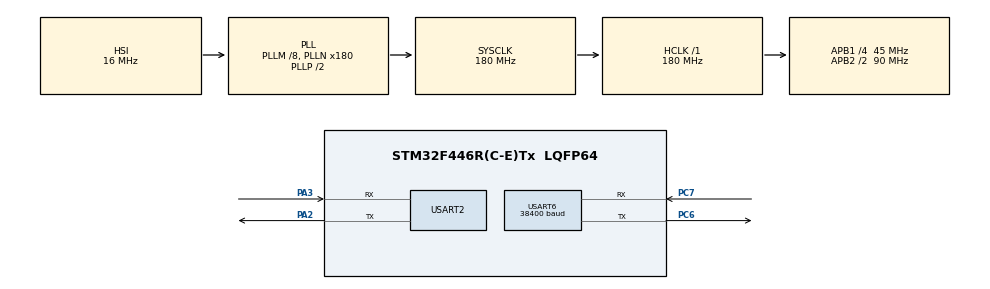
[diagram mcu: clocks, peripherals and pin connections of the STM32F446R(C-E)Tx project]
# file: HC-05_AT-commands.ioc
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Mcu.Family=STM32F4
Mcu.Name=STM32F446R(C-E)Tx
Mcu.Package=LQFP64
NVIC.PriorityGroup=NVIC_PRIORITYGROUP_4
PA2.Mode=Asynchronous
PA2.Signal=USART2_TX
PA3.Mode=Asynchronous
PA3.Signal=USART2_RX
PC6.Mode=Asynchronous
PC6.Signal=USART6_TX
PC7.Mode=Asynchronous
PC7.Signal=USART6_RX
PH0-OSC_IN.Mode=HSE-External-Oscillator
PH0-OSC_IN.Signal=RCC_OSC_IN
PH1-OSC_OUT.Mode=HSE-External-Oscillator
PH1-OSC_OUT.Signal=RCC_OSC_OUT
ProjectManager.HeapSize=0x200
ProjectManager.StackSize=0x400
ProjectManager.TargetToolchain=STM32CubeIDE
RCC.AHBFreq_Value=180000000
RCC.APB1CLKDivider=RCC_HCLK_DIV4
RCC.APB1Freq_Value=45000000
RCC.APB1TimFreq_Value=90000000
RCC.APB2CLKDivider=RCC_HCLK_DIV2
RCC.APB2Freq_Value=90000000
RCC.APB2TimFreq_Value=180000000
RCC.CortexFreq_Value=180000000
RCC.HCLKFreq_Value=180000000
RCC.PLLM=8
RCC.PLLN=180
RCC.SYSCLKFreq_VALUE=180000000
RCC.SYSCLKSource=RCC_SYSCLKSOURCE_PLLCLK
RCC.USBFreq_Value=180000000
RCC.VCOOutputFreq_Value=360000000
USART2.VirtualMode=VM_ASYNC
USART6.BaudRate=38400
USART6.VirtualMode=VM_ASYNC
board=custom

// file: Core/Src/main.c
/* USER CODE BEGIN Header */
/**
  ******************************************************************************
  * @file           : main.c
  * @brief          : Main program body
  ******************************************************************************
  * @attention
  *
  * Copyright (c) 2022 STMicroelectronics.
  * All rights reserved.
  *
  * This software is licensed under terms that can be found in the LICENSE file
  * in the root directory of this software component.
  * If no LICENSE file comes with this software, it is provided AS-IS.
  *
  ******************************************************************************
  */
/* USER CODE END Header */
#include "main.h"

/* USER CODE BEGIN Includes */
#include <string.h>
#include <memory.h>
#include <stdio.h>
/* USER CODE END Includes */

 UART_HandleTypeDef huart2;
UART_HandleTypeDef huart6;

/* USER CODE BEGIN PV */

#ifdef __GNUC__
#define PUTCHAR_PROTOTYPE int __io_putchar(int ch)
#else
#define PUTCHAR_PROTOTYPE int fputc(int ch, FILE *f)
#endif /* __GNUC__ */
PUTCHAR_PROTOTYPE
{
	while (HAL_UART_Transmit(&huart2, (uint8_t *)&ch, 1, 10) != HAL_OK) {};
	return ch;
}

#ifdef __GNUC__
#define GETCHAR_PROTOTYPE int __io_getchar (void)
#else
#define GETCHAR_PROTOTYPE int fgetc(FILE * f)
#endif /* __GNUC__ */
GETCHAR_PROTOTYPE
{
	uint8_t ch = 0;
	// Clear the Overrun flag just before receiving the first character
	__HAL_UART_CLEAR_OREFLAG(&huart2);
	HAL_UART_Receive(&huart2, (uint8_t *)&ch, 1, 0xFFFF);
	while (HAL_UART_Transmit(&huart2, (uint8_t *)&ch, 1, 10) != HAL_OK) {};
	return ch;
}
/* USER CODE END PV */

void SystemClock_Config(void);
static void MX_GPIO_Init(void);
static void MX_USART6_UART_Init(void);
static void MX_USART2_UART_Init(void);

int main(void)
{

  /* MCU Configuration--------------------------------------------------------*/

  /* Reset of all peripherals, Initializes the Flash interface and the Systick. */
  HAL_Init();

  /* Configure the system clock */
  SystemClock_Config();

  /* Initialize all configured peripherals */
  MX_GPIO_Init();
  MX_USART6_UART_Init();
  MX_USART2_UART_Init();
  /* USER CODE BEGIN 2 */

  // Use AT commands in "Command" mode to set the baud rate of BT module

  // By default the baud rate of HC05 BT module is 38400 in COMMAND MODE.
  // AND 9600 in data mode. NB! Read HC-05 manual "How to get to the AT mode"

	char receiveBuffer[50] = {0};

	HAL_Delay(200);

	// Test command. Respone should be OK\r\n
	char command[] = "AT\r\n";
	HAL_UART_Transmit(&huart6, (uint8_t*)&command, strlen(command), 500u);

	HAL_UART_Receive(&huart6, receiveBuffer, 50, 2000);
	printf ("Received: %s\r\n", receiveBuffer);

	HAL_Delay(200);

	// Baud rate to 921600 with 1 stop bit and no parity
   char command2[] = "AT+UART=921600,0,0\r\n";
   HAL_UART_Transmit(&huart6, (uint8_t*)&command2, strlen(command2), 500u);

   HAL_UART_Receive(&huart6, receiveBuffer, 50, 2000);
   printf ("Received: %s\r\n", receiveBuffer);

   HAL_Delay(200);

   // Test command. Check the baud rate. Response should be what was set with AT+UART= command
   char command3[] = "AT+UART?\r\n";
   HAL_UART_Transmit(&huart6, (uint8_t*)&command3, strlen(command3), 500u);

   HAL_UART_Receive(&huart6, receiveBuffer, 50, 2000);
   printf ("Received: %s\r\n", receiveBuffer);

   HAL_Delay(200);

  /* USER CODE END 2 */

  /* Infinite loop */
  while (1)
  {

    /* USER CODE BEGIN 3 */

   char command3[] = "AT+UART?\r\n";
   HAL_UART_Transmit(&huart6, (uint8_t*)&command3, strlen(command3), 500u);

   HAL_UART_Receive(&huart6, receiveBuffer, 50, 2000);
   printf ("Received: %s\r\n", receiveBuffer);

	HAL_Delay(200);

  }
  /* USER CODE END 3 */
}

void SystemClock_Config(void)
{
  RCC_OscInitTypeDef RCC_OscInitStruct = {0};
  RCC_ClkInitTypeDef RCC_ClkInitStruct = {0};

  /** Configure the main internal regulator output voltage
  */
  __HAL_RCC_PWR_CLK_ENABLE();
  __HAL_PWR_VOLTAGESCALING_CONFIG(PWR_REGULATOR_VOLTAGE_SCALE1);

  /** Initializes the RCC Oscillators according to the specified parameters
  * in the RCC_OscInitTypeDef structure.
  */
  RCC_OscInitStruct.OscillatorType = RCC_OSCILLATORTYPE_HSI;
  RCC_OscInitStruct.HSIState = RCC_HSI_ON;
  RCC_OscInitStruct.HSICalibrationValue = RCC_HSICALIBRATION_DEFAULT;
  RCC_OscInitStruct.PLL.PLLState = RCC_PLL_ON;
  RCC_OscInitStruct.PLL.PLLSource = RCC_PLLSOURCE_HSI;
  RCC_OscInitStruct.PLL.PLLM = 8;
  RCC_OscInitStruct.PLL.PLLN = 180;
  RCC_OscInitStruct.PLL.PLLP = RCC_PLLP_DIV2;
  RCC_OscInitStruct.PLL.PLLQ = 2;
  RCC_OscInitStruct.PLL.PLLR = 2;
  if (HAL_RCC_OscConfig(&RCC_OscInitStruct) != HAL_OK)
  {
    Error_Handler();
  }

  /** Activate the Over-Drive mode
  */
  if (HAL_PWREx_EnableOverDrive() != HAL_OK)
  {
    Error_Handler();
  }

  /** Initializes the CPU, AHB and APB buses clocks
  */
  RCC_ClkInitStruct.ClockType = RCC_CLOCKTYPE_HCLK|RCC_CLOCKTYPE_SYSCLK
                              |RCC_CLOCKTYPE_PCLK1|RCC_CLOCKTYPE_PCLK2;
  RCC_ClkInitStruct.SYSCLKSource = RCC_SYSCLKSOURCE_PLLCLK;
  RCC_ClkInitStruct.AHBCLKDivider = RCC_SYSCLK_DIV1;
  RCC_ClkInitStruct.APB1CLKDivider = RCC_HCLK_DIV4;
  RCC_ClkInitStruct.APB2CLKDivider = RCC_HCLK_DIV2;

  if (HAL_RCC_ClockConfig(&RCC_ClkInitStruct, FLASH_LATENCY_5) != HAL_OK)
  {
    Error_Handler();
  }
}

static void MX_USART2_UART_Init(void)
{

  huart2.Instance = USART2;
  huart2.Init.BaudRate = 115200;
  huart2.Init.WordLength = UART_WORDLENGTH_8B;
  huart2.Init.StopBits = UART_STOPBITS_1;
  huart2.Init.Parity = UART_PARITY_NONE;
  huart2.Init.Mode = UART_MODE_TX_RX;
  huart2.Init.HwFlowCtl = UART_HWCONTROL_NONE;
  huart2.Init.OverSampling = UART_OVERSAMPLING_16;
  if (HAL_UART_Init(&huart2) != HAL_OK)
  {
    Error_Handler();
  }

}

static void MX_USART6_UART_Init(void)
{

  huart6.Instance = USART6;
  huart6.Init.BaudRate = 38400;
  huart6.Init.WordLength = UART_WORDLENGTH_8B;
  huart6.Init.StopBits = UART_STOPBITS_1;
  huart6.Init.Parity = UART_PARITY_NONE;
  huart6.Init.Mode = UART_MODE_TX_RX;
  huart6.Init.HwFlowCtl = UART_HWCONTROL_NONE;
  huart6.Init.OverSampling = UART_OVERSAMPLING_16;
  if (HAL_UART_Init(&huart6) != HAL_OK)
  {
    Error_Handler();
  }

}

static void MX_GPIO_Init(void)
{

  /* GPIO Ports Clock Enable */
  __HAL_RCC_GPIOH_CLK_ENABLE();
  __HAL_RCC_GPIOA_CLK_ENABLE();
  __HAL_RCC_GPIOC_CLK_ENABLE();

}

void Error_Handler(void)
{
  __disable_irq();
  while (1)
  {
  }
}
